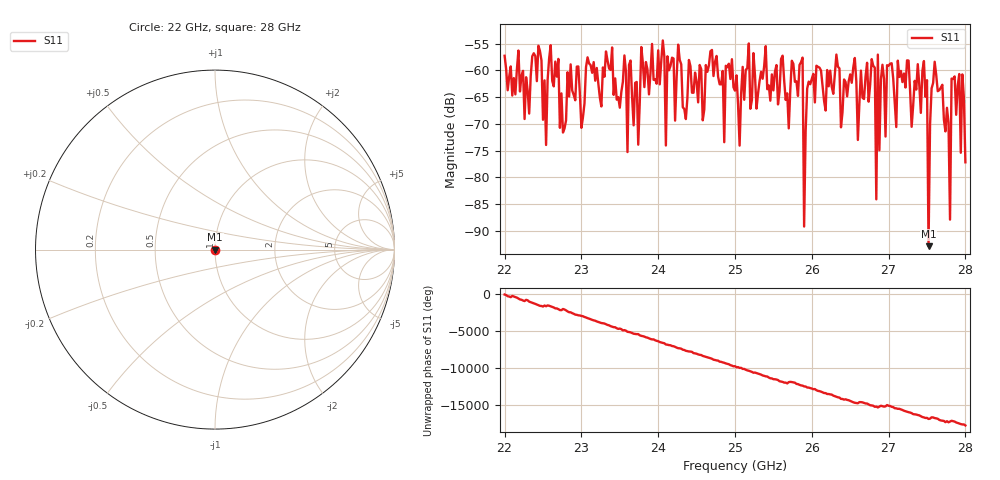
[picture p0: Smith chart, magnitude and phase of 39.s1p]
#  HZ  S  RI  R  50.00
! Rohde & Schwarz ZVA40 4Ports - Version 3.90 - 1145.1110k42 SN: 100403
! Date: 2023-10-04 06:49:32
! Measurement: S12
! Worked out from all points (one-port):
!   301 points, 22 GHz to 28 GHz, reference 50 ohm
!   lowest |S11| = -92.8 dB at 27.52 GHz (marker M1), VSWR 1.00, Z = 50 - j0.000814 ohm
!   |S11| at or under -10 dB: start of sweep to end of sweep
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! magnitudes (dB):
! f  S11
! 22 GHz  -57.3
! 22.76 GHz  -71.6
! 23.5 GHz  -67.0
! 24.06 GHz  -54.4
! 24.1 GHz  -74.0
! 24.12 GHz  -57.4
! 24.22 GHz  -69.4
! 24.26 GHz  -55.2
! 25 GHz  -63.8
! 25.76 GHz  -58.8
! 25.88 GHz  -57.6
! 25.9 GHz  -89.2
! 25.96 GHz  -62.1
! 26.5 GHz  -60.8
! 26.82 GHz  -59.5
! 26.84 GHz  -84.1
! 26.86 GHz  -57.1
! 26.88 GHz  -74.9
! 26.92 GHz  -59.0
! 27.26 GHz  -58.2
! 27.46 GHz  -58.3
! 27.52 GHz  -92.8
! 27.6 GHz  -58.4
! 27.8 GHz  -87.9
! 27.82 GHz  -61.5
! 27.94 GHz  -75.4
! 27.96 GHz  -60.8
! 28 GHz  -77.2
